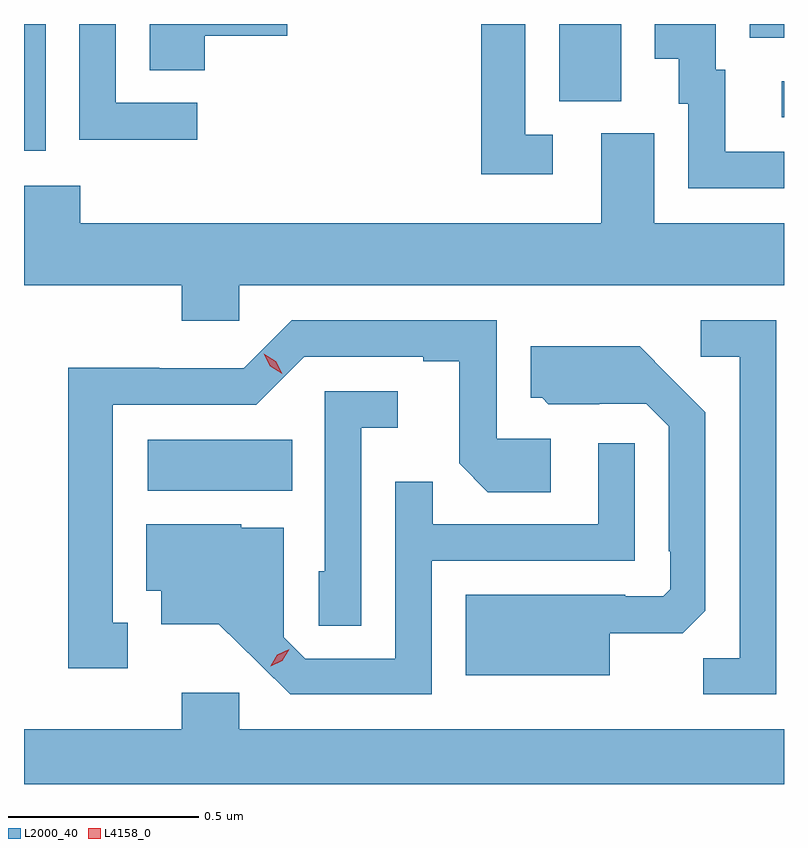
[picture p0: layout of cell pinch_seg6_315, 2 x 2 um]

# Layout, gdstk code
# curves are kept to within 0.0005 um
import gdstk
lib = gdstk.Library(unit=1e-6, precision=1e-09)
def R(c, l, rs):  # rectangles x0, y0, x1, y1
    for r in rs: c.add(gdstk.rectangle(r[:2], r[2:], *l))
def P(c, l, *ps):  # polygons
    for p in ps: c.add(gdstk.Polygon(p, *l))
L2000_40 = (2000, 40)
L4158_0 = (4158, 0)

pinch_seg6_315 = lib.new_cell('pinch_seg6_315')
R(pinch_seg6_315, L2000_40, [(662.184,957.452,662.564,957.586), (661.858,958.346,661.915,958.68), (663.852,958.434,663.858,958.53), (663.266,958.477,663.43,958.68), (663.768,958.644,663.858,958.68)])
P(pinch_seg6_315, L2000_40, [(663.25,958.389),(663.177,958.389),(663.177,958.68),(663.061,958.68),(663.061,958.284),(663.25,958.284)],
  [(663.858,958.344),(663.703,958.344),(663.703,958.56),(663.679,958.56),(663.679,958.68),(663.518,958.68),(663.518,958.589),(663.581,958.589),(663.581,958.47),(663.606,958.47),(663.606,958.248),(663.858,958.248)],
  [(662.314,958.473),(662.1,958.473),(662.1,958.68),(662.004,958.68),(662.004,958.375),(662.314,958.375)],
  [(662.333,958.649),(662.551,958.649),(662.551,958.68),(662.189,958.68),(662.189,958.558),(662.333,958.558)],
  [(662.424,957.992),(663.858,957.992),(663.858,958.156),(663.517,958.156),(663.517,958.392),(663.377,958.392),(663.377,958.156),(662.006,958.156),(662.006,958.255),(661.858,958.255),(661.858,957.992),(662.273,957.992),(662.273,957.899),(662.424,957.899)],
  [(662.131,957.105),(662.092,957.105),(662.092,957.678),(662.469,957.678),(662.595,957.804),(662.909,957.804),(662.909,957.792),(663.003,957.792),(663.003,957.524),(663.079,957.448),(663.244,957.448),(663.244,957.588),(663.102,957.588),(663.102,957.9),(662.562,957.9),(662.436,957.774),(662.214,957.774),(662.214,957.776),(661.974,957.776),(661.974,956.985),(662.131,956.985)],
  [(663.837,957.9),(663.639,957.9),(663.639,957.804),(663.741,957.804),(663.741,957.011),(663.646,957.011),(663.646,956.916),(663.837,956.916)],
  [(663.4,957.077),(663.592,957.077),(663.651,957.136),(663.651,957.658),(663.479,957.832),(663.191,957.832),(663.191,957.696),(663.222,957.696),(663.238,957.68),(663.372,957.68),(663.372,957.681),(663.495,957.681),(663.555,957.621),(663.555,957.292),(663.558,957.292),(663.558,957.192),(663.54,957.174),(663.44,957.174),(663.44,957.178),(663.02,957.178),(663.02,956.966),(663.4,956.966)],
  [(662.745,957.617),(662.842,957.617),(662.842,957.714),(662.649,957.714),(662.649,957.24),(662.634,957.24),(662.634,957.097),(662.745,957.097)],
  [(662.931,957.267),(663.465,957.267),(663.465,957.577),(663.369,957.577),(663.369,957.363),(662.933,957.363),(662.933,957.476),(662.835,957.476),(662.835,957.009),(662.598,957.009),(662.541,957.066),(662.541,957.355),(662.43,957.355),(662.43,957.364),(662.18,957.364),(662.18,957.188),(662.219,957.188),(662.219,957.101),(662.371,957.101),(662.558,956.916),(662.931,956.916)],
  [(663.858,956.824),(662.424,956.824),(662.424,956.92),(662.273,956.92),(662.273,956.824),(661.858,956.824),(661.858,956.68),(663.858,956.68)])
P(pinch_seg6_315, L4158_0, [(662.507,956.99),(662.507,956.991),(662.525,957.02),(662.556,957.034),(662.556,957.034),(662.556,957.034),(662.538,957.005),(662.507,956.99)],
  [(662.537,957.76),(662.506,957.779),(662.489,957.812),(662.489,957.812),(662.489,957.812),(662.52,957.793),(662.537,957.76),(662.537,957.76)])

lib.write_gds('pinch_seg6_315.gds')
